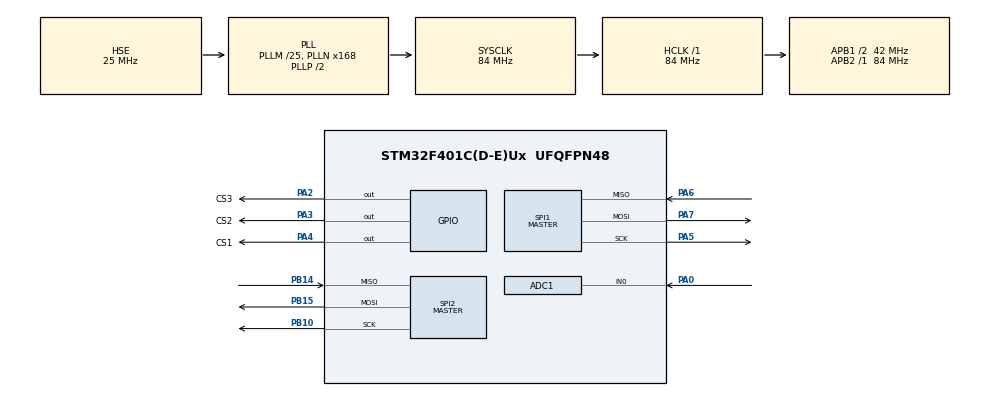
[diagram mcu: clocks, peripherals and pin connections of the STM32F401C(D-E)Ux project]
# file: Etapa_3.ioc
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ADC1.Channel-0\#ChannelRegularConversion=ADC_CHANNEL_0
ADC1.ContinuousConvMode=DISABLE
ADC1.DMAContinuousRequests=ENABLE
ADC1.ExternalTrigConv=ADC_EXTERNALTRIGCONV_T2_TRGO
ADC1.NbrOfConversion=1
ADC1.NbrOfConversionFlag=1
ADC1.Rank-0\#ChannelRegularConversion=1
ADC1.Resolution=ADC_RESOLUTION_10B
ADC1.SamplingTime-0\#ChannelRegularConversion=ADC_SAMPLETIME_3CYCLES
ADC1.master=1
Dma.ADC1.0.Direction=DMA_PERIPH_TO_MEMORY
Dma.ADC1.0.FIFOMode=DMA_FIFOMODE_DISABLE
Dma.ADC1.0.Instance=DMA2_Stream0
Dma.ADC1.0.MemDataAlignment=DMA_MDATAALIGN_HALFWORD
Dma.ADC1.0.MemInc=DMA_MINC_ENABLE
Dma.ADC1.0.Mode=DMA_CIRCULAR
Dma.ADC1.0.PeriphDataAlignment=DMA_PDATAALIGN_HALFWORD
Dma.ADC1.0.PeriphInc=DMA_PINC_DISABLE
Dma.ADC1.0.Priority=DMA_PRIORITY_LOW
Dma.Request0=ADC1
FREERTOS.Tasks01=defaultTask,24,128,StartDefaultTask,Default,NULL,Dynamic,NULL,NULL
FREERTOS.configENABLE_FPU=1
Mcu.Family=STM32F4
Mcu.Name=STM32F401C(D-E)Ux
Mcu.Package=UFQFPN48
NVIC.DMA2_Stream0_IRQn=true\:5\:0\:false\:false\:true\:true\:false\:true\:true
NVIC.PriorityGroup=NVIC_PRIORITYGROUP_4
NVIC.TIM3_IRQn=true\:5\:0\:false\:false\:true\:true\:true\:true\:true
NVIC.TIM4_IRQn=true\:15\:0\:false\:false\:true\:false\:false\:true\:true
NVIC.TimeBase=TIM4_IRQn
NVIC.TimeBaseIP=TIM4
PA0-WKUP.Signal=ADCx_IN0
PA13.Mode=Serial_Wire
PA13.Signal=SYS_JTMS-SWDIO
PA14.Mode=Serial_Wire
PA14.Signal=SYS_JTCK-SWCLK
PA2.GPIO_Label=CS3
PA2.Signal=GPIO_Output
PA3.GPIO_Label=CS2
PA3.Signal=GPIO_Output
PA4.GPIO_Label=CS1
PA4.PinState=GPIO_PIN_SET
PA4.Signal=GPIO_Output
PA5.Mode=Full_Duplex_Master
PA5.Signal=SPI1_SCK
PA6.Mode=Full_Duplex_Master
PA6.Signal=SPI1_MISO
PA7.Mode=Full_Duplex_Master
PA7.Signal=SPI1_MOSI
PB10.Mode=Full_Duplex_Master
PB10.Signal=SPI2_SCK
PB14.Mode=Full_Duplex_Master
PB14.Signal=SPI2_MISO
PB15.Mode=Full_Duplex_Master
PB15.Signal=SPI2_MOSI
PH0\ -\ OSC_IN.Mode=HSE-External-Oscillator
PH0\ -\ OSC_IN.Signal=RCC_OSC_IN
PH1\ -\ OSC_OUT.Mode=HSE-External-Oscillator
PH1\ -\ OSC_OUT.Signal=RCC_OSC_OUT
ProjectManager.HeapSize=0x200
ProjectManager.StackSize=0x400
ProjectManager.TargetToolchain=STM32CubeIDE
RCC.48MHZClocksFreq_Value=42000000
RCC.AHBFreq_Value=84000000
RCC.APB1CLKDivider=RCC_HCLK_DIV2
RCC.APB1Freq_Value=42000000
RCC.APB1TimFreq_Value=84000000
RCC.APB2Freq_Value=84000000
RCC.APB2TimFreq_Value=84000000
RCC.CortexFreq_Value=84000000
RCC.HCLKFreq_Value=84000000
RCC.HSE_VALUE=25000000
RCC.HSI_VALUE=16000000
RCC.LSE_VALUE=32768
RCC.PLLM=25
RCC.PLLN=168
RCC.PLLSourceVirtual=RCC_PLLSOURCE_HSE
RCC.SYSCLKFreq_VALUE=84000000
RCC.SYSCLKSource=RCC_SYSCLKSOURCE_PLLCLK
RCC.VCOOutputFreq_Value=168000000
SH.ADCx_IN0.0=ADC1_IN0,IN0
SPI1.BaudRatePrescaler=SPI_BAUDRATEPRESCALER_128
SPI1.CLKPhase=SPI_PHASE_2EDGE
SPI1.Direction=SPI_DIRECTION_2LINES
SPI1.Mode=SPI_MODE_MASTER
SPI1.VirtualType=VM_MASTER
SPI2.Direction=SPI_DIRECTION_2LINES
SPI2.Mode=SPI_MODE_MASTER
SPI2.VirtualType=VM_MASTER
TIM2.Channel-PWM\ Generation1\ No\ Output=TIM_CHANNEL_1
TIM2.Period=6998
TIM2.TIM_MasterOutputTrigger=TIM_TRGO_UPDATE
TIM3.Period=62499
TIM3.Prescaler=1343
VP_FREERTOS_VS_CMSIS_V2.Mode=CMSIS_V2
VP_SYS_VS_tim4.Mode=TIM4
VP_TIM2_VS_no_output1.Mode=PWM Generation1 No Output
VP_TIM3_VS_ClockSourceINT.Mode=Internal
board=custom

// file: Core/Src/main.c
/* USER CODE BEGIN Header */
/**
  ******************************************************************************
  * @file           : main.c
  * @brief          : Main program body
  ******************************************************************************
  * @attention
  *
  * Copyright (c) 2026 STMicroelectronics.
  * All rights reserved.
  *
  * This software is licensed under terms that can be found in the LICENSE file
  * in the root directory of this software component.
  * If no LICENSE file comes with this software, it is provided AS-IS.
  *
  ******************************************************************************
  */
/* USER CODE END Header */
#include "main.h"
#include "cmsis_os.h"
#include "adc.h"
#include "dma.h"
#include "spi.h"
#include "tim.h"
#include "gpio.h"

/* USER CODE BEGIN Includes */
#include "MAX31865.h"
#include "global_data.h"
#include "current_task.h"
#include "rtd_task.h"
#include "can_temp_task.h"
#include "can_current_task.h"
/* USER CODE END Includes */

/* USER CODE BEGIN PV */
osThreadId_t rtdTaskHandle;
osThreadId_t currentTaskHandle;
osThreadId_t canTempTaskHandle;
osThreadId_t canCurrentTaskHandle;

uint16_t adc_buffer[DMA_BUFF_LENGTH];

const osThreadAttr_t rtdTask_attributes = {
    .name = "rtdTask",
    .stack_size = 256 * 4,
    .priority = (osPriority_t) osPriorityNormal,
};

const osThreadAttr_t currentTask_attributes = {
    .name = "currentTask",
    .stack_size = 256 * 4,
    .priority = (osPriority_t) osPriorityAboveNormal,
};

const osThreadAttr_t canTempTask_attributes = {
    .name = "canTempTask",
    .stack_size = 256 * 4,
    .priority = (osPriority_t) osPriorityLow,
};

const osThreadAttr_t canCurrentTask_attributes = {
    .name = "canCurrentTask",
    .stack_size = 256 * 4,
    .priority = (osPriority_t) osPriorityLow,
};

/* USER CODE END PV */

void SystemClock_Config(void);
void MX_FREERTOS_Init(void);

int main(void)
{

  /* MCU Configuration--------------------------------------------------------*/

  /* Reset of all peripherals, Initializes the Flash interface and the Systick. */
  HAL_Init();

  /* Configure the system clock */
  SystemClock_Config();

  /* Initialize all configured peripherals */
  MX_GPIO_Init();
  MX_DMA_Init();
  MX_ADC1_Init();
  MX_SPI1_Init();
  MX_TIM2_Init();
  MX_TIM3_Init();
  MX_SPI2_Init();
  /* USER CODE BEGIN 2 */
  RTD_Init();
  HAL_TIM_Base_Start(&htim2);
  HAL_TIM_Base_Start_IT(&htim3);
  HAL_ADC_Start_DMA(&hadc1, (uint32_t*)adc_buffer, DMA_BUFF_LENGTH);
  /* USER CODE END 2 */

  /* Init scheduler */
  osKernelInitialize();  /* Call init function for freertos objects (in cmsis_os2.c) */
  MX_FREERTOS_Init();

  /* Start scheduler */
  osKernelStart();

  /* We should never get here as control is now taken by the scheduler */

  /* Infinite loop */
  while (1)
  {

  }
}

void SystemClock_Config(void)
{
  RCC_OscInitTypeDef RCC_OscInitStruct = {0};
  RCC_ClkInitTypeDef RCC_ClkInitStruct = {0};

  /** Configure the main internal regulator output voltage
  */
  __HAL_RCC_PWR_CLK_ENABLE();
  __HAL_PWR_VOLTAGESCALING_CONFIG(PWR_REGULATOR_VOLTAGE_SCALE2);

  /** Initializes the RCC Oscillators according to the specified parameters
  * in the RCC_OscInitTypeDef structure.
  */
  RCC_OscInitStruct.OscillatorType = RCC_OSCILLATORTYPE_HSE;
  RCC_OscInitStruct.HSEState = RCC_HSE_ON;
  RCC_OscInitStruct.PLL.PLLState = RCC_PLL_ON;
  RCC_OscInitStruct.PLL.PLLSource = RCC_PLLSOURCE_HSE;
  RCC_OscInitStruct.PLL.PLLM = 25;
  RCC_OscInitStruct.PLL.PLLN = 168;
  RCC_OscInitStruct.PLL.PLLP = RCC_PLLP_DIV2;
  RCC_OscInitStruct.PLL.PLLQ = 4;
  if (HAL_RCC_OscConfig(&RCC_OscInitStruct) != HAL_OK)
  {
    Error_Handler();
  }

  /** Initializes the CPU, AHB and APB buses clocks
  */
  RCC_ClkInitStruct.ClockType = RCC_CLOCKTYPE_HCLK|RCC_CLOCKTYPE_SYSCLK
                              |RCC_CLOCKTYPE_PCLK1|RCC_CLOCKTYPE_PCLK2;
  RCC_ClkInitStruct.SYSCLKSource = RCC_SYSCLKSOURCE_PLLCLK;
  RCC_ClkInitStruct.AHBCLKDivider = RCC_SYSCLK_DIV1;
  RCC_ClkInitStruct.APB1CLKDivider = RCC_HCLK_DIV2;
  RCC_ClkInitStruct.APB2CLKDivider = RCC_HCLK_DIV1;

  if (HAL_RCC_ClockConfig(&RCC_ClkInitStruct, FLASH_LATENCY_2) != HAL_OK)
  {
    Error_Handler();
  }
}

/* USER CODE BEGIN 4 */
void HAL_ADC_ConvHalfCpltCallback(ADC_HandleTypeDef* hadc){
	osThreadFlagsSet(currentTaskHandle, ADC_HALF_READY);
}
void HAL_ADC_ConvCpltCallback(ADC_HandleTypeDef* hadc){
	osThreadFlagsSet(currentTaskHandle, ADC_FULL_READY);
}
/* USER CODE END 4 */

void HAL_TIM_PeriodElapsedCallback(TIM_HandleTypeDef *htim)
{
  /* USER CODE BEGIN Callback 0 */
	if (htim->Instance == TIM3)
	{
		osThreadFlagsSet(rtdTaskHandle, RTD_READ_FLAG); // every 1 second
	}
  /* USER CODE END Callback 0 */
  if (htim->Instance == TIM4)
  {
    HAL_IncTick();
  }
}

void Error_Handler(void)
{
  __disable_irq();
  while (1)
  {
  }
}
